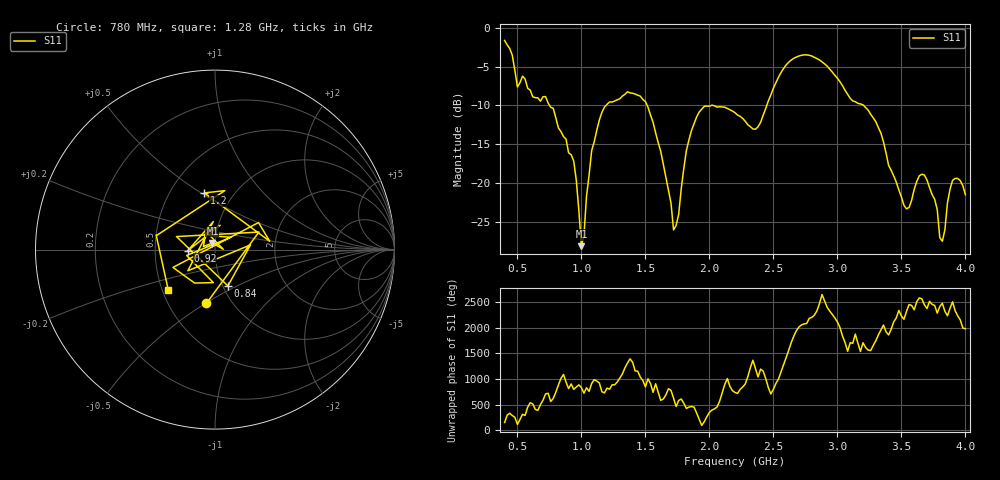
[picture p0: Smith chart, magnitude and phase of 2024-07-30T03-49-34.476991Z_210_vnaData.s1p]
!Created with skrf (http://scikit-rf.org).
# Hz S RI R 50.0
!freq ReS11 ImS11
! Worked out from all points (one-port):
!   181 points, 400 MHz to 4 GHz, reference 50 ohm
!   lowest |S11| = -28.2 dB at 1 GHz (marker M1), VSWR 1.08, Z = 48.5 + j3.53 ohm
!   |S11| at or under -10 dB: 751.2 MHz to 1.192 GHz (441 MHz wide, 45.4 % of centre); 1.514 GHz to 2.015 GHz (501.4 MHz wide, 28.4 % of centre); 3.204 GHz to end of sweep (the widest 3 of 4)
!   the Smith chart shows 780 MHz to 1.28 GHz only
!   S11 on the Smith chart (normalised r, x): 780 MHz: 0.76, -0.50; 840 MHz: 1.06, -0.45; 920 MHz: 0.74, -0.01; 1.2 GHz: 0.73, +0.52; 1.28 GHz: 0.54, -0.27
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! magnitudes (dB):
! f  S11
! 400 MHz  -1.6
! 500 MHz  -7.6
! 780 MHz  -10.4
! 840 MHz  -13.4
! 860 MHz  -14.0
! 920 MHz  -16.4
! 960 MHz  -19.7
! 1 GHz  -28.2
! 1.08 GHz  -15.8
! 1.2 GHz  -9.9
! 1.28 GHz  -9.3
! 1.3 GHz  -9.1
! 1.5 GHz  -9.5
! 1.62 GHz  -15.9
! 1.72 GHz  -26.1
! 1.76 GHz  -24.1
! 1.82 GHz  -15.8
! 1.92 GHz  -10.9
! 2.2 GHz  -10.9
! 2.36 GHz  -13.1
! 2.66 GHz  -3.9
! 3.1 GHz  -9.1
! 3.3 GHz  -12.1
! 3.56 GHz  -23.2
! 3.68 GHz  -19.0
! 3.82 GHz  -27.5
! 3.9 GHz  -19.7
! 4 GHz  -21.5
